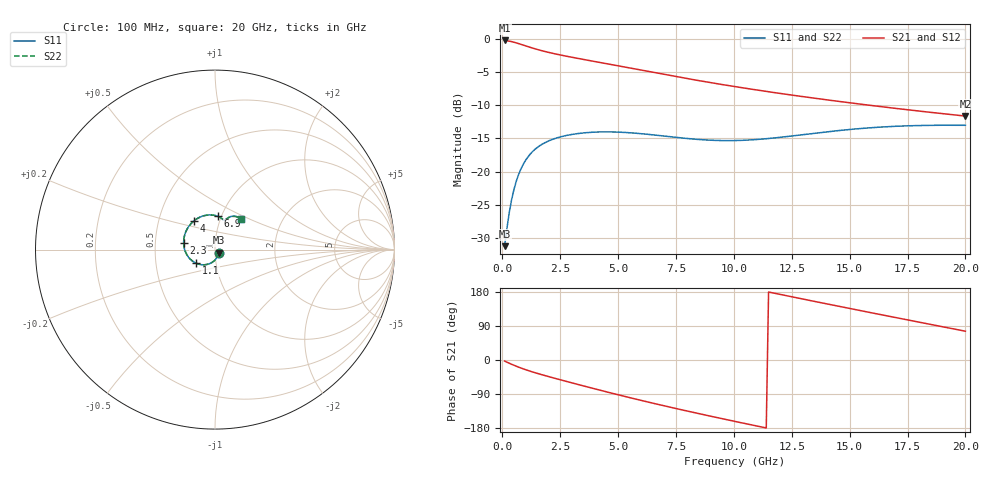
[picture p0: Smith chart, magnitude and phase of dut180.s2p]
! Touchstone file exported from HFSS 2023.1.0
!  File:  D:/Users/fzz/RDL_TSV/temp_RDL_TSV_180_1778754986.aedt
!  Generated:  6:47:05 %x4E0B%x5348  5%x6708 14, 2026
!  Design:  RDL_TSV
!  Project:  temp_RDL_TSV_180_1778754986
!  Setup:  Setup1
!  Solution:  Sweep
! Variables:
!  dtsv = 26.35um
!  hbump = 3um
!  htsv = 91.53um
!  ldown = 431.43um
!  lrdl = 405.35um
!  p = 40
!  p1 = 56.11um
!  rhole = 10um
!  subl = 2915.69um
!  t = 450um
!  tdown = 2.01um
!  trdl = 3.92um
!  viad = 10um
!  wdown = 12.12um
!  wrdl = 29.24um
!  xbump = 18um
# GHz S MA R 50.000000
! Terminal data exported
! Port[1] = TM1_1_T1
! Port[2] = TM1_4_T1
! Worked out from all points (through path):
!   200 points, 100 MHz to 20 GHz, reference 50 ohm
!   highest |S21| = -0.22 dB at 100 MHz (marker M1); lowest = -11.6 dB at 20 GHz (marker M2)
!   group delay of S21, straight-line fit = 37.6 ps
!   lowest |S11| = -31.2 dB at 100 MHz (marker M3), VSWR 1.06, Z = 52.2 - j1.74 ohm
!   |S11| at or under -10 dB: start of sweep to end of sweep
!   |S22| runs from -31.2 to -13.1 dB; largest |S21 - S12| = 7.3e-14
!   S11 on the Smith chart (normalised r, x): 100 MHz: 1.04, -0.03; 1.1 GHz: 0.80, -0.13; 2.3 GHz: 0.70, +0.05; 4 GHz: 0.75, +0.25; 6.9 GHz: 0.96, +0.37; 20 GHz: 1.24, +0.45
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0.1  0.02741 -37.4  0.9751 -2.9  0.9751 -2.9  0.02741 -37.4
! Gamma 0 0 0 0
! Port Impedance 50 0 50 0
0.3  0.04903 -80.2  0.9642 -8.6  0.9642 -8.6  0.04902 -80.2
0.5  0.07293 -102.6  0.9463 -13.9  0.9463 -13.9  0.07292 -102.6
0.6  0.08415 -111.2  0.9355 -16.4  0.9355 -16.4  0.08414 -111.2
0.8  0.1043 -125.7  0.9122 -21.1  0.9122 -21.1  0.1043 -125.7
1.1  0.1286 -143.3  0.877 -27.5  0.877 -27.5  0.1285 -143.4
1.6  0.1561 -166.6  0.8256 -36.9  0.8256 -36.9  0.156 -166.6
2.3  0.1783 168.5  0.7711 -48.8  0.7711 -48.8  0.1782 168.5
2.9  0.1893 151.3  0.7342 -58.6  0.7342 -58.6  0.1892 151.2
3.5  0.1958 136.6  0.7015 -68.3  0.7015 -68.3  0.1956 136.6
4  0.1986 125.9  0.676 -76.2  0.676 -76.2  0.1984 125.9
5.3  0.1974 103.6  0.6135 -96.3  0.6135 -96.3  0.1972 103.5
6.8  0.187 86.3  0.5482 -118.2  0.5482 -118.2  0.1867 86.2
6.9  0.1862 85.4  0.5442 -119.6  0.5442 -119.6  0.1858 85.3
8.4  0.1752 76.3  0.4884 -140.3  0.4884 -140.3  0.1748 76.2
10.1  0.1716 72.2  0.4361 -162.7  0.4361 -162.7  0.1711 72.0
11.6  0.1784 70.4  0.3979 178.1  0.3979 178.1  0.1777 70.2
13.4  0.1938 67.3  0.3594 155.6  0.3594 155.6  0.1929 67.1
15  0.2079 63.2  0.3304 136.0  0.3304 136.0  0.2068 62.9
16.7  0.2185 58.2  0.3039 115.4  0.3039 115.4  0.2172 58.0
18.3  0.2232 53.8  0.2823 96.3  0.2823 96.3  0.2218 53.6
20  0.2235 50.1  0.2624 76.0  0.2624 76.0  0.2221 49.9
